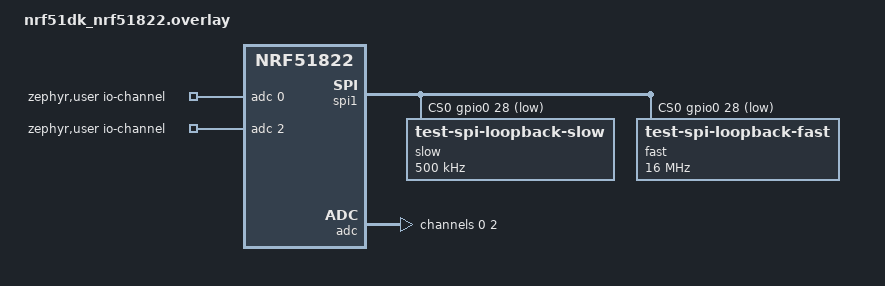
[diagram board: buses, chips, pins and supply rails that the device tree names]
/*
 * Copyright (c) 2022 Nordic Semiconductor ASA
 *
 * SPDX-License-Identifier: Apache-2.0
 */

&spi1 {
	overrun-character = <0x00>;
	cs-gpios = <&gpio0 28 GPIO_ACTIVE_LOW>;
	zephyr,pm-device-runtime-auto;

	slow@0 {
		compatible = "test-spi-loopback-slow";
		reg = <0>;
		spi-max-frequency = <500000>;
	};

	fast@0 {
		compatible = "test-spi-loopback-fast";
		reg = <0>;
		spi-max-frequency = <16000000>;
	};
};

/ {
	zephyr,user {
		io-channels = <&adc 0>, <&adc 2>;
	};
};

&adc {
	#address-cells = <1>;
	#size-cells = <0>;
	channel@0 {
		reg = <0>;
		zephyr,gain = "ADC_GAIN_1_3";
		zephyr,reference = "ADC_REF_INTERNAL";
		zephyr,acquisition-time = <ADC_ACQ_TIME_DEFAULT>;
		zephyr,input-positive = <NRF_ADC_AIN2>;
		zephyr,resolution = <10>;
	};
	channel@2 {
		reg = <2>;
		zephyr,gain = "ADC_GAIN_1_3";
		zephyr,reference = "ADC_REF_INTERNAL";
		zephyr,acquisition-time = <ADC_ACQ_TIME_DEFAULT>;
		zephyr,input-positive = <NRF_ADC_AIN3>;
		zephyr,resolution = <10>;
	};
};
